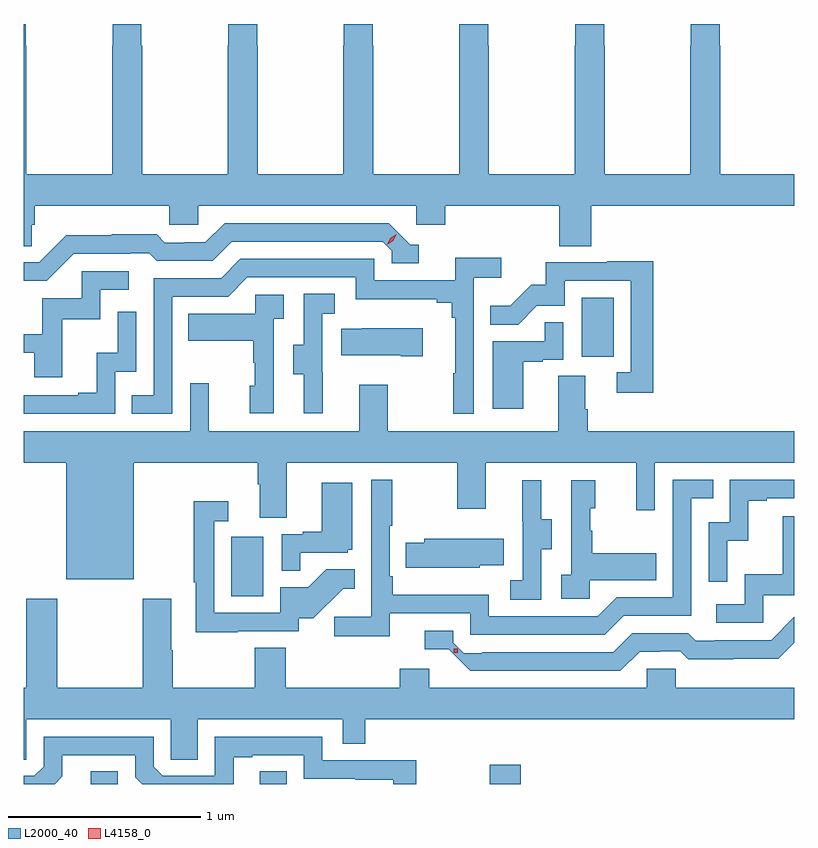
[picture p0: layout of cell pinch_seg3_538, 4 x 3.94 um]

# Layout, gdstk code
import gdstk
lib = gdstk.Library(unit=1e-6, precision=1e-09)
def R(c, l, rs):  # rectangles x0, y0, x1, y1
    for r in rs: c.add(gdstk.rectangle(r[:2], r[2:], *l))
def P(c, l, *ps):  # polygons
    for p in ps: c.add(gdstk.Polygon(p, *l))
L2000_40 = (2000, 40)
L4158_0 = (4158, 0)

pinch_seg3_538 = lib.new_cell('pinch_seg3_538')
R(pinch_seg3_538, L2000_40, [(1126.517,697.917,1126.657,697.982), (1127.393,697.917,1127.533,697.982), (1128.587,697.917,1128.748,698.017), (1127.246,698.892,1127.41,699.199), (1129.064,700.134,1129.228,700.441)])
P(pinch_seg3_538, L2000_40, [(1126.211,700.818),(1126.226,700.818),(1126.226,700.916),(1126.923,700.916),(1126.923,700.818),(1127.073,700.818),(1127.073,700.916),(1128.204,700.916),(1128.204,700.818),(1128.356,700.818),(1128.356,700.916),(1128.947,700.916),(1128.947,700.708),(1129.112,700.708),(1129.112,700.916),(1130.167,700.916),(1130.167,701.08),(1129.782,701.08),(1129.782,701.747),(1129.779,701.747),(1129.779,701.86),(1129.629,701.86),(1129.629,701.747),(1129.627,701.747),(1129.627,701.08),(1129.182,701.08),(1129.182,701.747),(1129.179,701.747),(1129.179,701.86),(1129.029,701.86),(1129.029,701.747),(1129.027,701.747),(1129.027,701.08),(1128.582,701.08),(1128.582,701.747),(1128.579,701.747),(1128.579,701.86),(1128.429,701.86),(1128.429,701.747),(1128.427,701.747),(1128.427,701.08),(1127.982,701.08),(1127.982,701.747),(1127.979,701.747),(1127.979,701.86),(1127.829,701.86),(1127.829,701.747),(1127.827,701.747),(1127.827,701.08),(1127.382,701.08),(1127.382,701.747),(1127.379,701.747),(1127.379,701.86),(1127.229,701.86),(1127.229,701.747),(1127.227,701.747),(1127.227,701.08),(1126.782,701.08),(1126.782,701.747),(1126.779,701.747),(1126.779,701.86),(1126.629,701.86),(1126.629,701.747),(1126.627,701.747),(1126.627,701.08),(1126.182,701.08),(1126.182,701.747),(1126.179,701.747),(1126.179,701.86),(1126.167,701.86),(1126.167,700.708),(1126.211,700.708)],
  [(1126.428,700.668),(1126.721,700.668),(1126.721,700.671),(1126.82,700.671),(1126.859,700.632),(1127.148,700.632),(1127.247,700.731),(1128.03,700.731),(1128.078,700.683),(1128.078,700.62),(1128.217,700.62),(1128.217,700.716),(1128.174,700.716),(1128.063,700.827),(1127.21,700.827),(1127.111,700.728),(1127.004,700.728),(1127.004,700.725),(1126.901,700.725),(1126.859,700.768),(1126.626,700.768),(1126.626,700.765),(1126.39,700.765),(1126.248,700.623),(1126.167,700.623),(1126.167,700.527),(1126.287,700.527)],
  [(1126.938,700.446),(1127.229,700.446),(1127.328,700.545),(1127.892,700.545),(1127.892,700.433),(1128.311,700.433),(1128.311,700.414),(1128.388,700.414),(1128.388,700.337),(1128.407,700.337),(1128.407,700.049),(1128.396,700.049),(1128.396,699.837),(1128.504,699.837),(1128.504,700.544),(1128.646,700.544),(1128.646,700.646),(1128.407,700.646),(1128.407,700.53),(1127.988,700.53),(1127.988,700.641),(1127.291,700.641),(1127.192,700.542),(1126.842,700.542),(1126.842,699.933),(1126.729,699.933),(1126.729,699.837),(1126.938,699.837)],
  [(1129.433,700.628),(1129.195,700.628),(1129.195,700.623),(1128.877,700.623),(1128.877,700.506),(1128.8,700.506),(1128.693,700.399),(1128.589,700.399),(1128.589,700.3),(1128.733,700.3),(1128.831,700.398),(1128.975,700.398),(1128.975,700.527),(1129.317,700.527),(1129.317,700.053),(1129.245,700.053),(1129.245,699.948),(1129.433,699.948)],
  [(1126.367,700.329),(1126.566,700.329),(1126.566,700.482),(1126.714,700.482),(1126.714,700.578),(1126.47,700.578),(1126.47,700.437),(1126.265,700.437),(1126.265,700.251),(1126.167,700.251),(1126.167,700.155),(1126.223,700.155),(1126.223,700.026),(1126.367,700.026)],
  [(1127.72,700.053),(1127.718,700.053),(1127.718,700.357),(1127.782,700.357),(1127.782,700.46),(1127.622,700.46),(1127.622,700.197),(1127.567,700.197),(1127.567,700.042),(1127.621,700.042),(1127.621,699.84),(1127.72,699.84)],
  [(1127.466,700.331),(1127.518,700.331),(1127.518,700.455),(1127.37,700.455),(1127.37,700.357),(1127.023,700.357),(1127.023,700.217),(1127.358,700.217),(1127.358,700.103),(1127.368,700.103),(1127.368,699.984),(1127.342,699.984),(1127.342,699.84),(1127.466,699.84)],
  [(1126.644,700.056),(1126.752,700.056),(1126.752,700.366),(1126.656,700.366),(1126.656,700.154),(1126.547,700.154),(1126.547,699.946),(1126.451,699.946),(1126.451,699.933),(1126.167,699.933),(1126.167,699.837),(1126.644,699.837)],
  [(1128.76,700.107),(1128.86,700.107),(1128.86,700.119),(1128.966,700.119),(1128.966,700.313),(1128.871,700.313),(1128.871,700.215),(1128.602,700.215),(1128.602,699.864),(1128.76,699.864)],
  [(1128.238,700.282),(1127.923,700.282),(1127.923,700.279),(1127.815,700.279),(1127.815,700.142),(1128.125,700.142),(1128.125,700.135),(1128.238,700.135)],
  [(1126.738,699.584),(1127.381,699.584),(1127.381,699.472),(1127.393,699.472),(1127.393,699.298),(1127.533,699.298),(1127.533,699.584),(1128.418,699.584),(1128.418,699.345),(1128.565,699.345),(1128.565,699.584),(1129.346,699.584),(1129.346,699.336),(1129.443,699.336),(1129.443,699.584),(1130.167,699.584),(1130.167,699.748),(1129.094,699.748),(1129.094,699.86),(1129.081,699.86),(1129.081,700.034),(1128.941,700.034),(1128.941,699.748),(1128.057,699.748),(1128.057,699.988),(1127.909,699.988),(1127.909,699.748),(1127.129,699.748),(1127.129,699.997),(1127.031,699.997),(1127.031,699.748),(1126.167,699.748),(1126.167,699.584),(1126.388,699.584),(1126.388,698.978),(1126.738,698.978)],
  [(1128.068,698.802),(1128.486,698.802),(1128.486,698.691),(1129.183,698.691),(1129.282,698.79),(1129.632,698.79),(1129.632,699.399),(1129.745,699.399),(1129.745,699.495),(1129.536,699.495),(1129.536,698.886),(1129.245,698.886),(1129.146,698.787),(1128.582,698.787),(1128.582,698.899),(1128.083,698.899),(1128.083,698.995),(1128.066,698.995),(1128.066,699.256),(1128.079,699.256),(1128.079,699.496),(1127.97,699.496),(1127.97,698.784),(1127.78,698.784),(1127.78,698.684),(1128.068,698.684)],
  [(1129.818,699.179),(1129.928,699.179),(1129.928,699.387),(1130.023,699.387),(1130.023,699.399),(1130.167,699.399),(1130.167,699.495),(1129.83,699.495),(1129.83,699.276),(1129.722,699.276),(1129.722,698.967),(1129.818,698.967)],
  [(1128.852,699.136),(1128.907,699.136),(1128.907,699.291),(1128.853,699.291),(1128.853,699.493),(1128.755,699.493),(1128.755,699.279),(1128.756,699.279),(1128.756,698.975),(1128.693,698.975),(1128.693,698.872),(1128.852,698.872)],
  [(1129.104,698.975),(1129.451,698.975),(1129.451,699.115),(1129.117,699.115),(1129.117,699.23),(1129.107,699.23),(1129.107,699.348),(1129.132,699.348),(1129.132,699.493),(1129.008,699.493),(1129.008,699.002),(1128.957,699.002),(1128.957,698.877),(1129.104,698.877)],
  [(1127.603,699.117),(1127.85,699.117),(1127.85,699.132),(1127.872,699.132),(1127.872,699.481),(1127.714,699.481),(1127.714,699.226),(1127.615,699.226),(1127.615,699.213),(1127.508,699.213),(1127.508,699.023),(1127.603,699.023)],
  [(1127.279,698.709),(1127.595,698.709),(1127.595,698.776),(1127.67,698.776),(1127.826,698.931),(1127.885,698.931),(1127.885,699.032),(1127.737,699.032),(1127.643,698.938),(1127.499,698.938),(1127.499,698.805),(1127.157,698.805),(1127.157,699.279),(1127.23,699.279),(1127.23,699.385),(1127.049,699.385),(1127.049,698.965),(1127.061,698.965),(1127.061,698.704),(1127.279,698.704)],
  [(1130.004,698.895),(1130.167,698.895),(1130.167,699.307),(1130.107,699.307),(1130.107,699.004),(1129.908,699.004),(1129.908,698.85),(1129.761,698.85),(1129.761,698.754),(1130.004,698.754)],
  [(1128.534,699.053),(1128.659,699.053),(1128.659,699.19),(1128.245,699.19),(1128.245,699.168),(1128.151,699.168),(1128.151,699.039),(1128.262,699.039),(1128.262,699.038),(1128.534,699.038)],
  [(1126.182,698.252),(1126.932,698.252),(1126.932,698.044),(1127.071,698.044),(1127.071,698.252),(1127.823,698.252),(1127.823,698.125),(1127.939,698.125),(1127.939,698.252),(1130.167,698.252),(1130.167,698.416),(1129.551,698.416),(1129.551,698.514),(1129.401,698.514),(1129.401,698.416),(1128.271,698.416),(1128.271,698.515),(1128.119,698.515),(1128.119,698.416),(1127.528,698.416),(1127.528,698.624),(1127.368,698.624),(1127.368,698.416),(1126.941,698.416),(1126.941,698.612),(1126.933,698.612),(1126.933,698.878),(1126.786,698.878),(1126.786,698.416),(1126.341,698.416),(1126.341,698.878),(1126.181,698.878),(1126.181,698.416),(1126.167,698.416),(1126.167,698.044),(1126.182,698.044)],
  [(1129.363,698.604),(1129.47,698.604),(1129.47,698.607),(1129.573,698.607),(1129.615,698.565),(1129.848,698.565),(1129.848,698.567),(1130.084,698.567),(1130.167,698.65),(1130.167,698.785),(1130.046,698.664),(1129.753,698.664),(1129.753,698.661),(1129.654,698.661),(1129.615,698.7),(1129.326,698.7),(1129.227,698.601),(1128.547,698.601),(1128.547,698.595),(1128.45,698.595),(1128.396,698.649),(1128.396,698.712),(1128.249,698.712),(1128.249,698.616),(1128.373,698.616),(1128.484,698.505),(1129.264,698.505)],
  [(1126.369,697.957),(1126.369,698.067),(1126.746,698.067),(1126.746,697.953),(1126.782,697.917),(1127.257,697.917),(1127.257,698.055),(1127.353,698.055),(1127.353,698.067),(1127.622,698.067),(1127.622,697.944),(1127.887,697.944),(1127.887,697.939),(1128.084,697.939),(1128.084,697.917),(1128.205,697.917),(1128.205,698.04),(1127.718,698.04),(1127.718,698.163),(1127.16,698.163),(1127.16,697.959),(1126.89,697.959),(1126.842,698.007),(1126.842,698.163),(1126.272,698.163),(1126.272,698.007),(1126.224,697.959),(1126.167,697.959),(1126.167,697.917),(1126.329,697.917)])
R(pinch_seg3_538, L4158_0, [(1128.4,698.598,1128.42,698.618)])
P(pinch_seg3_538, L4158_0, [(1128.055,700.716),(1128.055,700.716),(1128.071,700.749),(1128.102,700.768),(1128.102,700.768),(1128.102,700.768),(1128.086,700.735),(1128.055,700.716)])

lib.write_gds('pinch_seg3_538.gds')
